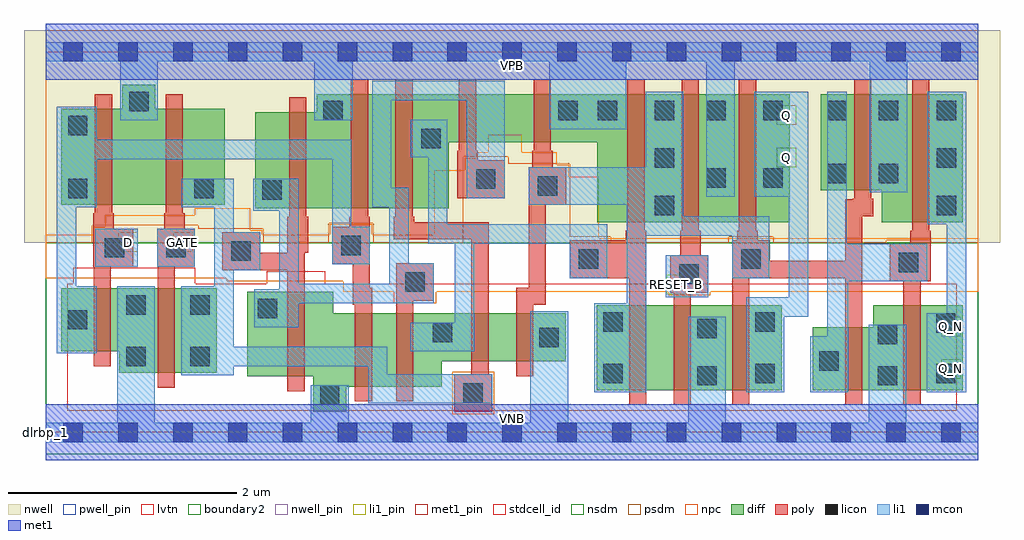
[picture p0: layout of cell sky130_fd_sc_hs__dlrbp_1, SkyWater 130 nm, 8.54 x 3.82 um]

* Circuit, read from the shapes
.subckt sky130_fd_sc_hs__dlrbp_1 D GATE Q Q_N RESET_B VGND VNB VPB VPWR
XM1 VGND D n1 VNB sky130_fd_pr__nfet_01v8_lvt w=0.55 l=0.15
XM2 n2 GATE VGND VNB sky130_fd_pr__nfet_01v8_lvt w=0.74 l=0.15
XM3 VGND n2 n3 VNB sky130_fd_pr__nfet_01v8_lvt w=0.74 l=0.15
XM4 n4 n1 VGND VNB sky130_fd_pr__nfet_01v8_lvt w=0.64 l=0.15
XM5 n5 n3 n4 VNB sky130_fd_pr__nfet_01v8_lvt w=0.64 l=0.15
XM6 n6 n2 n5 VNB sky130_fd_pr__nfet_01v8_lvt w=0.42 l=0.15
XM7 VGND n7 n6 VNB sky130_fd_pr__nfet_01v8_lvt w=0.42 l=0.15
XM8 n8 n5 n7 VNB sky130_fd_pr__nfet_01v8_lvt w=0.74 l=0.15
XM9 VGND RESET_B n8 VNB sky130_fd_pr__nfet_01v8_lvt w=0.74 l=0.15
XM10 Q n7 VGND VNB sky130_fd_pr__nfet_01v8_lvt w=0.74 l=0.15
XM11 VGND n7 n9 VNB sky130_fd_pr__nfet_01v8_lvt w=0.55 l=0.15
XM12 Q_N n9 VGND VNB sky130_fd_pr__nfet_01v8_lvt w=0.74 l=0.15
XM13 VPWR D n1 VPB sky130_fd_pr__pfet_01v8 w=0.84 l=0.15
XM14 n2 GATE VPWR VPB sky130_fd_pr__pfet_01v8 w=0.84 l=0.15
XM15 VPWR n2 n3 VPB sky130_fd_pr__pfet_01v8 w=0.84 l=0.15
XM16 n10 n1 VPWR VPB sky130_fd_pr__pfet_01v8 w=1 l=0.15
XM17 n5 n2 n10 VPB sky130_fd_pr__pfet_01v8 w=1 l=0.15
XM18 n11 n3 n5 VPB sky130_fd_pr__pfet_01v8 w=0.42 l=0.15
XM19 VPWR n7 n11 VPB sky130_fd_pr__pfet_01v8 w=0.42 l=0.15
XM20 n7 n5 VPWR VPB sky130_fd_pr__pfet_01v8 w=1.12 l=0.15
XM21 VPWR RESET_B n7 VPB sky130_fd_pr__pfet_01v8 w=1.12 l=0.15
XM22 Q n7 VPWR VPB sky130_fd_pr__pfet_01v8 w=1.12 l=0.15
XM23 VPWR n7 n9 VPB sky130_fd_pr__pfet_01v8 w=0.84 l=0.15
XM24 Q_N n9 VPWR VPB sky130_fd_pr__pfet_01v8 w=1.12 l=0.15
.ends

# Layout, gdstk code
import gdstk
lib = gdstk.Library(unit=1e-6, precision=1e-09)
def R(c, l, rs):  # rectangles x0, y0, x1, y1
    for r in rs: c.add(gdstk.rectangle(r[:2], r[2:], *l))
def A(c, l, x, y, w, h, nx, ny, dx, dy):  # array of equal rectangles
    R(c, l, [(x+i*dx, y+j*dy, x+i*dx+w, y+j*dy+h) for i in range(nx) for j in range(ny)])
def P(c, l, *ps):  # polygons
    for p in ps: c.add(gdstk.Polygon(p, *l))
nwell_pin = (64, 16)
nwell = (64, 20)
diff = (65, 20)
poly = (66, 20)
licon = (66, 44)
li1_pin = (67, 16)
li1 = (67, 20)
mcon = (67, 44)
met1_pin = (68, 16)
met1 = (68, 20)
stdcell_id = (81, 4)
nsdm = (93, 44)
psdm = (94, 20)
npc = (95, 20)
pwell_pin = (122, 16)
lvtn = (125, 44)
boundary2 = (236, 0)

sky130_fd_sc_hs__dlrbp_1 = lib.new_cell('sky130_fd_sc_hs__dlrbp_1')
R(sky130_fd_sc_hs__dlrbp_1, nwell_pin, [(0,3.085,8.16,3.33)])
R(sky130_fd_sc_hs__dlrbp_1, nwell, [(-0.19,1.66,8.35,3.52)])
R(sky130_fd_sc_hs__dlrbp_1, diff, [(4.82,0.37,6.44,1.11)])
P(sky130_fd_sc_hs__dlrbp_1, diff, [(1.495,1.26),(0.135,1.26),(0.135,0.71),(0.645,0.71),(0.645,0.52),(1.495,0.52)],
  [(1.565,2.83),(0.96,2.83),(0.96,3.04),(0.67,3.04),(0.67,2.83),(0.135,2.83),(0.135,1.99),(1.565,1.99)],
  [(4.55,1.04),(2.515,1.04),(2.515,1.23),(1.765,1.23),(1.765,0.49),(2.34,0.49),(2.34,0.18),(2.63,0.18),(2.63,0.4),(3.465,0.4),(3.465,0.62),(4.55,0.62)],
  [(6.51,2.96),(2.37,2.96),(2.37,2.8),(1.835,2.8),(1.835,1.96),(3.525,1.96),(3.525,2.54),(4.825,2.54),(4.825,1.84),(6.51,1.84)],
  [(8.025,2.96),(6.78,2.96),(6.78,2.12),(7.315,2.12),(7.315,1.84),(8.025,1.84)],
  [(8.025,1.11),(7.24,1.11),(7.24,0.92),(6.71,0.92),(6.71,0.37),(8.025,0.37)])
P(sky130_fd_sc_hs__dlrbp_1, poly, [(7.745,1.765),(7.73,1.765),(7.73,3.09),(7.58,3.09),(7.58,1.765),(7.565,1.765),(7.565,1.65),(7.385,1.65),(7.385,1.32),(7.505,1.32),(7.505,0.24),(7.655,0.24),(7.655,1.32),(7.745,1.32)],
  [(7.24,2.045),(7.225,2.045),(7.225,3.09),(7.075,3.09),(7.075,2.045),(7.06,2.045),(7.06,2.04),(6.995,2.04),(6.995,1.5),(6.335,1.5),(6.335,1.68),(6.23,1.68),(6.23,1.765),(6.215,1.765),(6.215,3.09),(6.065,3.09),(6.065,1.765),(6.05,1.765),(6.05,1.68),(6.005,1.68),(6.005,0.24),(6.155,0.24),(6.155,1.35),(6.995,1.35),(6.995,0.24),(7.145,0.24),(7.145,1.89),(7.24,1.89)],
  [(5.795,1.55),(5.73,1.55),(5.73,1.765),(5.715,1.765),(5.715,3.09),(5.565,3.09),(5.565,1.765),(5.55,1.765),(5.55,1.55),(5.465,1.55),(5.465,1.22),(5.495,1.22),(5.495,0.24),(5.645,0.24),(5.645,1.22),(5.795,1.22)],
  [(5.255,1.765),(5.24,1.765),(5.24,3.09),(5.09,3.09),(5.09,1.765),(5.075,1.765),(5.075,1.68),(4.585,1.68),(4.585,1.35),(5.105,1.35),(5.105,0.24),(5.255,0.24)],
  [(4.555,2.32),(4.435,2.32),(4.435,2.465),(4.42,2.465),(4.42,3.09),(4.27,3.09),(4.27,2.465),(4.255,2.465),(4.255,2.32),(4.225,2.32),(4.225,1.265),(4.115,1.265),(4.115,0.49),(4.265,0.49),(4.265,1.115),(4.375,1.115),(4.375,1.99),(4.555,1.99)],
  [(4.015,2.38),(3.78,2.38),(3.78,2.465),(3.765,2.465),(3.765,3.09),(3.615,3.09),(3.615,2.465),(3.6,2.465),(3.6,2.05),(4.015,2.05)],
  [(3.905,0.51),(3.875,0.51),(3.875,1.84),(3.225,1.84),(3.225,1.885),(3.21,1.885),(3.21,3.09),(3.06,3.09),(3.06,1.885),(3.045,1.885),(3.045,1.69),(3.725,1.69),(3.725,0.51),(3.575,0.51),(3.575,0.18),(3.905,0.18)],
  [(3.395,1.48),(3.065,1.48),(3.065,0.27),(3.215,0.27),(3.215,1.15),(3.395,1.15)],
  [(2.855,1.265),(2.835,1.265),(2.835,1.885),(2.82,1.885),(2.82,3.09),(2.67,3.09),(2.67,1.885),(2.655,1.885),(2.655,1.8),(2.505,1.8),(2.505,1.47),(2.685,1.47),(2.685,1.115),(2.705,1.115),(2.705,0.27),(2.855,0.27)],
  [(2.295,1.885),(2.28,1.885),(2.28,2.93),(2.13,2.93),(2.13,1.885),(2.115,1.885),(2.115,1.57),(1.875,1.57),(1.875,1.75),(1.545,1.75),(1.545,1.42),(2.115,1.42),(2.115,0.36),(2.265,0.36),(2.265,1.57),(2.295,1.57)],
  [(1.305,1.78),(1.215,1.78),(1.215,1.915),(1.2,1.915),(1.2,2.96),(1.05,2.96),(1.05,1.915),(1.035,1.915),(1.035,1.78),(0.975,1.78),(0.975,1.45),(0.98,1.45),(0.98,0.39),(1.13,0.39),(1.13,1.45),(1.305,1.45)],
  [(0.765,1.78),(0.595,1.78),(0.595,1.915),(0.58,1.915),(0.58,2.96),(0.43,2.96),(0.43,1.915),(0.415,1.915),(0.415,1.45),(0.42,1.45),(0.42,0.58),(0.57,0.58),(0.57,1.45),(0.765,1.45)])
A(sky130_fd_sc_hs__dlrbp_1, licon, 5.33, 1.9, 0.17, 0.17, 1, 3, 0, 0.415)
A(sky130_fd_sc_hs__dlrbp_1, licon, 7.795, 1.9, 0.17, 0.17, 1, 3, 0, 0.415)
R(sky130_fd_sc_hs__dlrbp_1, licon, [(2.4,0.24,2.57,0.41), (3.655,0.26,3.825,0.43), (5.7,0.41,5.87,0.58), (7.28,0.41,7.45,0.58), (4.88,0.43,5.05,0.6), (6.21,0.43,6.38,0.6), (7.79,0.43,7.96,0.6), (6.77,0.54,6.94,0.71), (0.705,0.58,0.875,0.75), (1.265,0.58,1.435,0.75), (4.32,0.745,4.49,0.915), (7.28,0.77,7.45,0.94), (3.385,0.79,3.555,0.96), (5.7,0.825,5.87,0.995), (7.79,0.87,7.96,1.04), (4.88,0.88,5.05,1.05), (6.21,0.88,6.38,1.05), (0.195,0.9,0.365,1.07), (1.855,1,2.025,1.17), (0.705,1.03,0.875,1.2), (1.265,1.03,1.435,1.2), (3.145,1.23,3.315,1.4), (5.545,1.3,5.715,1.47), (7.465,1.4,7.635,1.57), (4.665,1.43,4.835,1.6), (6.085,1.43,6.255,1.6), (1.625,1.5,1.795,1.67), (0.515,1.53,0.685,1.7), (1.055,1.53,1.225,1.7), (2.585,1.55,2.755,1.72), (1.895,2.035,2.065,2.205), (0.195,2.05,0.365,2.22), (1.3,2.05,1.47,2.22), (4.305,2.07,4.475,2.24), (3.765,2.13,3.935,2.3), (5.78,2.14,5.95,2.31), (6.28,2.14,6.45,2.31), (6.84,2.18,7.01,2.35), (7.29,2.18,7.46,2.35), (3.285,2.485,3.455,2.655), (0.195,2.6,0.365,2.77), (2.43,2.73,2.6,2.9), (4.485,2.73,4.655,2.9), (4.83,2.73,5,2.9), (5.78,2.73,5.95,2.9), (6.28,2.73,6.45,2.9), (6.84,2.73,7.01,2.9), (7.29,2.73,7.46,2.9), (0.73,2.81,0.9,2.98)])
R(sky130_fd_sc_hs__dlrbp_1, li1_pin, [(7.835,0.47,8.005,0.64), (7.835,0.84,8.005,1.01), (5.435,1.21,5.605,1.38), (0.635,1.58,0.805,1.75), (1.115,1.58,1.285,1.75), (6.395,2.32,6.565,2.49), (6.395,2.69,6.565,2.86)])
R(sky130_fd_sc_hs__dlrbp_1, li1, [(5.425,1.18,5.795,1.55), (0.435,1.45,0.805,1.78), (0.975,1.45,1.305,1.78)])
P(sky130_fd_sc_hs__dlrbp_1, li1, [(0,-0.085),(0,0.085),(0.625,0.085),(0.625,1.28),(0.955,1.28),(0.955,0.085),(2.32,0.085),(2.32,0.41),(2.65,0.41),(2.65,0.085),(4.24,0.085),(4.24,1.06),(4.57,1.06),(4.57,0.085),(5.62,0.085),(5.62,1.01),(5.95,1.01),(5.95,0.085),(7.2,0.085),(7.2,0.94),(7.53,0.94),(7.53,0.085),(8.16,0.085),(8.16,-0.085)],
  [(0,3.245),(0,3.415),(8.16,3.415),(8.16,3.245),(7.54,3.245),(7.54,2.1),(7.21,2.1),(7.21,3.245),(6.03,3.245),(6.03,2.06),(5.78,2.06),(5.78,3.245),(5.08,3.245),(5.08,2.65),(4.405,2.65),(4.405,3.245),(2.685,3.245),(2.685,2.73),(2.35,2.73),(2.35,3.245),(0.98,3.245),(0.98,2.73),(0.65,2.73),(0.65,3.245)],
  [(7.885,1.04),(7.885,1.82),(7.715,1.82),(7.715,2.98),(8.055,2.98),(8.055,0.35),(7.71,0.35),(7.71,1.04)],
  [(6.2,2.06),(6.2,2.98),(6.67,2.98),(6.67,1.01),(6.46,1.01),(6.46,0.35),(6.13,0.35),(6.13,1.18),(6.5,1.18),(6.5,2.06)],
  [(5.085,1.99),(4.225,1.99),(4.225,2.32),(5.25,2.32),(5.25,2.98),(5.58,2.98),(5.58,1.89),(6.33,1.89),(6.33,1.35),(6.005,1.35),(6.005,1.72),(5.255,1.72),(5.255,0.35),(4.8,0.35),(4.8,1.13),(5.085,1.13)],
  [(6.84,2.98),(7.01,2.98),(7.01,1.65),(7.715,1.65),(7.715,1.32),(7.02,1.32),(7.02,0.35),(6.69,0.35),(6.69,0.84),(6.84,0.84)],
  [(0.095,2.85),(0.445,2.85),(0.445,2.56),(2.675,2.56),(2.675,1.8),(2.835,1.8),(2.835,1.47),(2.505,1.47),(2.505,2.39),(0.445,2.39),(0.445,1.97),(0.265,1.97),(0.265,1.28),(0.445,1.28),(0.445,0.69),(0.095,0.69)],
  [(3.345,1.65),(3.345,2.405),(3.195,2.405),(3.195,2.735),(3.515,2.735),(3.515,1.82),(4.915,1.82),(4.915,1.35),(4.585,1.35),(4.585,1.65),(3.75,1.65),(3.75,0.71),(3.19,0.71),(3.19,0.96),(3.58,0.96),(3.58,1.65)],
  [(2.855,1.97),(2.855,3.075),(4.015,3.075),(4.015,2.05),(3.685,2.05),(3.685,2.905),(3.025,2.905),(3.025,2.14),(3.175,2.14),(3.175,1.48),(3.395,1.48),(3.395,1.13),(2.215,1.13),(2.215,0.92),(1.825,0.92),(1.825,1.25),(2.045,1.25),(2.045,1.94),(1.815,1.94),(1.815,2.22),(2.215,2.22),(2.215,1.3),(3.005,1.3),(3.005,1.97)],
  [(1.185,0.5),(1.185,1.28),(1.475,1.28),(1.475,1.97),(1.185,1.97),(1.185,2.22),(1.645,2.22),(1.645,1.75),(1.875,1.75),(1.875,1.42),(1.645,1.42),(1.645,0.75),(2.99,0.75),(2.99,0.51),(3.905,0.51),(3.905,0.255),(2.82,0.255),(2.82,0.58),(1.645,0.58),(1.645,0.5)])
A(sky130_fd_sc_hs__dlrbp_1, mcon, 0.155, -0.085, 0.17, 0.17, 17, 2, 0.48, 3.33)
R(sky130_fd_sc_hs__dlrbp_1, met1_pin, [(0,0,8.16,0.245), (0,3.085,8.16,3.33)])
R(sky130_fd_sc_hs__dlrbp_1, met1, [(0,-0.245,8.16,0.245), (0,3.085,8.16,3.575)])
R(sky130_fd_sc_hs__dlrbp_1, stdcell_id, [(0,0,8.16,3.33)])
R(sky130_fd_sc_hs__dlrbp_1, nsdm, [(0,-0.19,8.16,1.66)])
P(sky130_fd_sc_hs__dlrbp_1, psdm, [(8.16,3.52),(0,3.52),(0,1.66),(0.405,1.66),(0.405,1.81),(1.335,1.81),(1.335,1.78),(1.905,1.78),(1.905,1.66),(2.475,1.66),(2.475,1.83),(2.865,1.83),(2.865,1.66),(3.655,1.66),(3.655,2.41),(4.045,2.41),(4.045,2.35),(4.585,2.35),(4.585,1.71),(4.945,1.71),(4.945,1.66),(5.975,1.66),(5.975,1.71),(6.365,1.71),(6.365,1.66),(7.355,1.66),(7.355,1.68),(7.745,1.68),(7.745,1.66),(8.16,1.66)])
R(sky130_fd_sc_hs__dlrbp_1, npc, [(3.555,0.16,3.925,0.53)])
P(sky130_fd_sc_hs__dlrbp_1, npc, [(8.16,1.7),(4.84,1.7),(4.84,2.235),(4.575,2.235),(4.575,2.34),(4.47,2.34),(4.47,2.45),(4.165,2.45),(4.165,2.605),(3.87,2.605),(3.87,2.45),(3.77,2.45),(3.77,2.4),(3.665,2.4),(3.665,2.295),(3.4,2.295),(3.4,1.73),(2.855,1.73),(2.855,1.82),(2.485,1.82),(2.485,1.73),(1.895,1.73),(1.895,1.77),(1.79,1.77),(1.79,1.96),(1.305,1.96),(1.305,1.9),(0.52,1.9),(0.52,1.8),(0.415,1.8),(0.415,1.73),(0,1.73),(0,1.35),(1.585,1.35),(1.585,1.32),(2.605,1.32),(2.605,1.23),(3.045,1.23),(3.045,1.13),(3.415,1.13),(3.415,1.23),(5.445,1.23),(5.445,1.2),(5.815,1.2),(5.815,1.23),(8.16,1.23)])
R(sky130_fd_sc_hs__dlrbp_1, pwell_pin, [(0,0,8.16,0.245)])
P(sky130_fd_sc_hs__dlrbp_1, lvtn, [(7.97,1.3),(2.445,1.3),(2.445,1.41),(1.935,1.41),(1.935,1.3),(1.31,1.3),(1.31,1.44),(0.24,1.44),(0.24,1.3),(0.19,1.3),(0.19,0.19),(7.97,0.19)])
R(sky130_fd_sc_hs__dlrbp_1, boundary2, [(0,0,8.16,3.33)])
sky130_fd_sc_hs__dlrbp_1.add(gdstk.Label('dlrbp_1', (0,0), layer=83, texttype=44))
sky130_fd_sc_hs__dlrbp_1.add(gdstk.Label('VNB', (4.08,0.123), layer=64, texttype=59))
sky130_fd_sc_hs__dlrbp_1.add(gdstk.Label('VPB', (4.08,3.208), layer=64, texttype=5))
sky130_fd_sc_hs__dlrbp_1.add(gdstk.Label('VPWR', (4.08,3.208), layer=68, texttype=5))
sky130_fd_sc_hs__dlrbp_1.add(gdstk.Label('VGND', (4.08,0.123), layer=68, texttype=5))
sky130_fd_sc_hs__dlrbp_1.add(gdstk.Label('D', (0.72,1.665), layer=67, texttype=5))
sky130_fd_sc_hs__dlrbp_1.add(gdstk.Label('Q_N', (7.92,0.555), layer=67, texttype=5))
sky130_fd_sc_hs__dlrbp_1.add(gdstk.Label('Q_N', (7.92,0.925), layer=67, texttype=5))
sky130_fd_sc_hs__dlrbp_1.add(gdstk.Label('Q', (6.48,2.405), layer=67, texttype=5))
sky130_fd_sc_hs__dlrbp_1.add(gdstk.Label('Q', (6.48,2.775), layer=67, texttype=5))
sky130_fd_sc_hs__dlrbp_1.add(gdstk.Label('GATE', (1.2,1.665), layer=67, texttype=5))
sky130_fd_sc_hs__dlrbp_1.add(gdstk.Label('RESET_B', (5.52,1.295), layer=67, texttype=5))

lib.write_gds('sky130_fd_sc_hs__dlrbp_1.gds')
